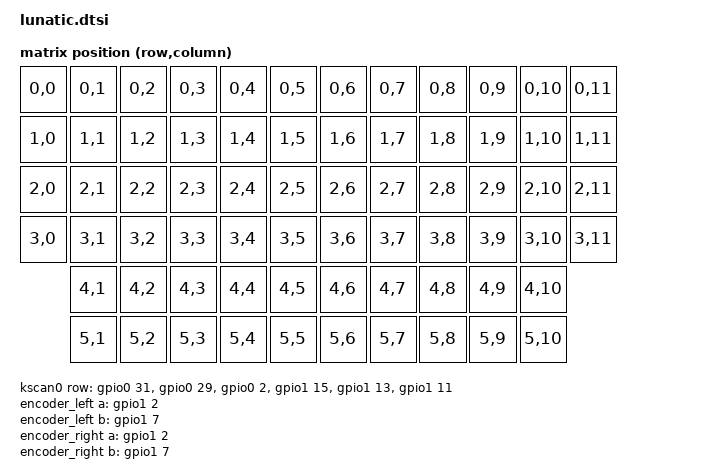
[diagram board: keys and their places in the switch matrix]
#include <dt-bindings/zmk/matrix_transform.h>
#include "lunatic-layouts.dtsi"

/ {
    chosen {
    // zmk,kscan = &kscan_composite;    //for merge matrix onl
    zmk,kscan = &kscan0; 
    zmk,physical-layout = &physical_layout;
    zmk,battery = &vbatt;
    zephyr,console = &cdc_acm_uart;
    };

	default_transform: keymap_transform_0 {
	        compatible = "zmk,matrix-transform";
	        columns = <12>;
	        rows = <6>;
	                   map = <
				RC(0,0)	RC(0,1)	RC(0,2)	RC(0,3)	RC(0,4)	RC(0,5)		RC(0,6)	RC(0,7)	RC(0,8)	RC(0,9)	RC(0,10) RC(0,11)
				RC(1,0)	RC(1,1)	RC(1,2)	RC(1,3)	RC(1,4)	RC(1,5)		RC(1,6)	RC(1,7)	RC(1,8)	RC(1,9)	RC(1,10) RC(1,11)
				RC(2,0)	RC(2,1)	RC(2,2)	RC(2,3)	RC(2,4)	RC(2,5)		RC(2,6)	RC(2,7)	RC(2,8)	RC(2,9)	RC(2,10) RC(2,11)
				RC(3,0)	RC(3,1)	RC(3,2)	RC(3,3)	RC(3,4)	RC(3,5)		RC(3,6)	RC(3,7)	RC(3,8)	RC(3,9)	RC(3,10) RC(3,11)
						RC(4,1)	RC(4,2)	RC(4,3)	RC(4,4)	RC(4,5)		RC(4,6)	RC(4,7)	RC(4,8)	RC(4,9)	RC(4,10)		
						RC(5,1)	RC(5,2)	RC(5,3)	RC(5,4)	RC(5,5)		RC(5,6)	RC(5,7)	RC(5,8)	RC(5,9)	RC(5,10)		

	        >;
    };

    split_inputs {
        #address-cells = <1>;
        #size-cells = <0>;

        trackball_split: trackball_split@0 {
            compatible = "zmk,input-split";
            reg = <0>;
        };
    };

   kscan0: kscan_matrix {
        compatible = "zmk,kscan-gpio-matrix";        // define matrix here...
	        diode-direction = "col2row";
			wakeup-source;
            row-gpios
          	=   <&gpio0 31 (GPIO_ACTIVE_HIGH | GPIO_PULL_DOWN)>,
				<&gpio0 29 (GPIO_ACTIVE_HIGH | GPIO_PULL_DOWN)>,
				<&gpio0 2 (GPIO_ACTIVE_HIGH | GPIO_PULL_DOWN)>,
				<&gpio1 15  (GPIO_ACTIVE_HIGH | GPIO_PULL_DOWN)>,
				<&gpio1 13  (GPIO_ACTIVE_HIGH | GPIO_PULL_DOWN)>,
				<&gpio1 11  (GPIO_ACTIVE_HIGH | GPIO_PULL_DOWN)>
            ;

    };

    //Left hand trackball
    split_inputs {
      #address-cells = <1>;
      #size-cells = <0>;

      trackball_peripheral_split: trackball_peripheral_split@0 {
        compatible = "zmk,input-split";
        reg = <0>;
      };
    };

    trackball_peripheral_listener: trackball_peripheral_listener {
      compatible = "zmk,input-listener";
      status = "disabled";
      device = <&trackball_peripheral_split>;
    };

    //right hand trackball
    trackball_central_listener: trackball_central_listener {
      compatible = "zmk,input-listener";
      status = "disabled";
    };

	encoder_left: encoder_left {
        compatible = "alps,ec11";
      		a-gpios = <&gpio1 2 (GPIO_ACTIVE_LOW | GPIO_PULL_UP)>;
	   	    b-gpios = <&gpio1 7 (GPIO_ACTIVE_LOW | GPIO_PULL_UP)>;
		steps = <24>;
      		status = "disabled";
	};


	encoder_right: encoder_right {
		compatible = "alps,ec11";
      		a-gpios = <&gpio1 2 (GPIO_ACTIVE_LOW | GPIO_PULL_UP)>;
	   	    b-gpios = <&gpio1 7 (GPIO_ACTIVE_LOW | GPIO_PULL_UP)>;
		steps = <24>;
       		status = "disabled";
	};

    	sensors: sensors {
	        compatible = "zmk,keymap-sensors";
	        sensors = <&encoder_left &encoder_right>;
	        triggers-per-rotation = <12>;
	};  

	 vbatt: vbatt {
	        compatible = "zmk,battery-nrf-vddh";
	       init-delay-ms = <50>;
	    };

};

// Allow USB logging uncomment to use it
 &usbd {
	status = "okay";
	cdc_acm_uart: cdc_acm_uart {
		compatible = "zephyr,cdc-acm-uart";
		label = "CDC_ACM_0";
	};
};

 &physical_layout {
    transform = <&default_transform>;
    // kscan = <&kscan_composite>; //
    };

&adc {
    status = "okay";
};
&gpiote {
    status = "okay";
};

&gpio0 {
    status = "okay";
};

&gpio1 {
    status = "okay";
};

//trackball define

&pinctrl {
    spi0_default: spi0_default {
        group1 {
            psels = <NRF_PSEL(SPIM_SCK, 0, 8)>,
                <NRF_PSEL(SPIM_MOSI, 0, 17)>,
                <NRF_PSEL(SPIM_MISO, 0, 17)>;
        };
    };

    spi0_sleep: spi0_sleep {
        group1 {
            psels = <NRF_PSEL(SPIM_SCK, 0, 8)>,
                <NRF_PSEL(SPIM_MOSI, 0, 17)>,
                <NRF_PSEL(SPIM_MISO, 0, 17)>;
            low-power-enable;
        };
    };
};

&spi0 {
  status = "okay";
  compatible = "nordic,nrf-spim";
  pinctrl-0 = <&spi0_default>;
  pinctrl-1 = <&spi0_sleep>;
  pinctrl-names = "default", "sleep";
};

&spi1 {
    compatible = "nordic,nrf-spim";
    pinctrl-0 = <&spi1_default>;
    pinctrl-1 = <&spi1_sleep>;
    pinctrl-names = "default", "sleep";
};

zephyr_udc0: &usbd {
    status = "okay";
};

&pinctrl {
    uart0_default: uart0_default {
        group1 {
            psels = <NRF_PSEL(UART_RX, 0, 8)>;
            bias-pull-up;
        };
        group2 {
            psels = <NRF_PSEL(UART_TX, 0, 6)>;
        };
    };

    uart0_sleep: uart0_sleep {
        group1 {
            psels = <NRF_PSEL(UART_RX, 0, 8)>,
                <NRF_PSEL(UART_TX, 0, 6)>;
            low-power-enable;
        };
    };


    spi1_default: spi1_default {
        group1 {
            psels = <NRF_PSEL(SPIM_SCK, 0, 8)>,
                <NRF_PSEL(SPIM_MOSI, 0, 17)>,
                <NRF_PSEL(SPIM_MISO, 0, 17)>;
        };
    };

    spi1_sleep: spi1_sleep {
        group1 {
            psels = <NRF_PSEL(SPIM_SCK, 0, 8)>,
                <NRF_PSEL(SPIM_MOSI, 0, 17)>,
                <NRF_PSEL(SPIM_MISO, 0, 17)>;
            low-power-enable;
        };
    };
};

